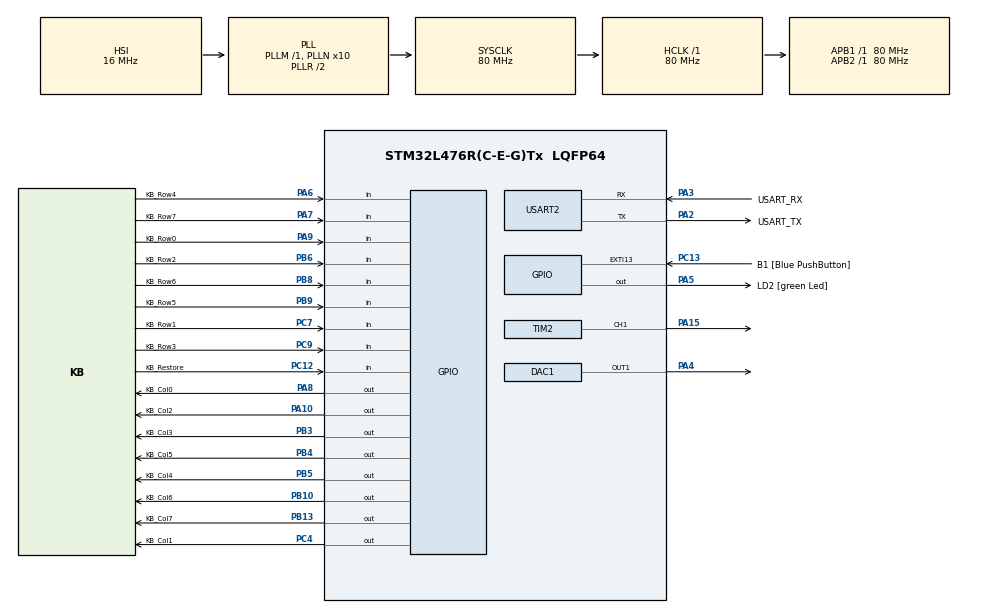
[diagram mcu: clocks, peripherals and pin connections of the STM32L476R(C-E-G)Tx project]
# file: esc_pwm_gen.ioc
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DAC1.DAC_OutputBuffer-DAC_OUT1=DAC_OUTPUTBUFFER_DISABLE
DAC1.DAC_SampleAndHold-DAC_OUT1=DAC_SAMPLEANDHOLD_DISABLE
DAC1.DAC_Trigger-DAC_OUT1=DAC_TRIGGER_T4_TRGO
DAC1.DAC_UserTrimming-DAC_OUT1=DAC_TRIMMING_FACTORY
Dma.DAC_CH1.0.Direction=DMA_MEMORY_TO_PERIPH
Dma.DAC_CH1.0.Instance=DMA1_Channel3
Dma.DAC_CH1.0.MemDataAlignment=DMA_MDATAALIGN_BYTE
Dma.DAC_CH1.0.MemInc=DMA_MINC_ENABLE
Dma.DAC_CH1.0.Mode=DMA_CIRCULAR
Dma.DAC_CH1.0.PeriphDataAlignment=DMA_PDATAALIGN_BYTE
Dma.DAC_CH1.0.PeriphInc=DMA_PINC_DISABLE
Dma.DAC_CH1.0.Priority=DMA_PRIORITY_LOW
Dma.Request0=DAC_CH1
Mcu.Family=STM32L4
Mcu.Name=STM32L476R(C-E-G)Tx
Mcu.Package=LQFP64
NVIC.DMA1_Channel3_IRQn=true\:0\:0\:false\:false\:true\:false\:true\:true
NVIC.PriorityGroup=NVIC_PRIORITYGROUP_4
NVIC.TIM1_BRK_TIM15_IRQn=true\:0\:0\:false\:false\:true\:true\:true\:true
NVIC.TIM6_DAC_IRQn=true\:0\:0\:false\:false\:true\:true\:true\:true
PA10.GPIO_Label=KB_Col2
PA10.Signal=GPIO_Output
PA13\ (JTMS-SWDIO).GPIO_Label=TMS
PA13\ (JTMS-SWDIO).Mode=Serial_Wire
PA13\ (JTMS-SWDIO).Signal=SYS_JTMS-SWDIO
PA14\ (JTCK-SWCLK).GPIO_Label=TCK
PA14\ (JTCK-SWCLK).Mode=Serial_Wire
PA14\ (JTCK-SWCLK).Signal=SYS_JTCK-SWCLK
PA15\ (JTDI).Signal=S_TIM2_CH1
PA2.GPIO_Label=USART_TX
PA2.GPIO_Mode=GPIO_MODE_AF_PP
PA2.GPIO_PuPd=GPIO_NOPULL
PA2.GPIO_Speed=GPIO_SPEED_FREQ_VERY_HIGH
PA2.Mode=Asynchronous
PA2.Signal=USART2_TX
PA3.GPIO_Label=USART_RX
PA3.GPIO_Mode=GPIO_MODE_AF_PP
PA3.GPIO_PuPd=GPIO_NOPULL
PA3.GPIO_Speed=GPIO_SPEED_FREQ_VERY_HIGH
PA3.Mode=Asynchronous
PA3.Signal=USART2_RX
PA4.Signal=COMP_DAC11_group
PA5.GPIO_Label=LD2 [green Led]
PA5.GPIO_ModeDefaultOutputPP=GPIO_MODE_OUTPUT_PP
PA5.GPIO_PuPd=GPIO_NOPULL
PA5.GPIO_Speed=GPIO_SPEED_FREQ_LOW
PA5.Signal=GPIO_Output
PA6.GPIO_Label=KB_Row4
PA6.GPIO_PuPd=GPIO_PULLUP
PA6.Signal=GPIO_Input
PA7.GPIO_Label=KB_Row7
PA7.GPIO_PuPd=GPIO_PULLUP
PA7.Signal=GPIO_Input
PA8.GPIO_Label=KB_Col0
PA8.Signal=GPIO_Output
PA9.GPIO_Label=KB_Row0
PA9.GPIO_PuPd=GPIO_PULLUP
PA9.Signal=GPIO_Input
PB10.GPIO_Label=KB_Col6
PB10.Signal=GPIO_Output
PB13.GPIO_Label=KB_Col7
PB13.Signal=GPIO_Output
PB3\ (JTDO-TRACESWO).GPIO_Label=KB_Col3
PB3\ (JTDO-TRACESWO).Signal=GPIO_Output
PB4\ (NJTRST).GPIO_Label=KB_Col5
PB4\ (NJTRST).Signal=GPIO_Output
PB5.GPIO_Label=KB_Col4
PB5.Signal=GPIO_Output
PB6.GPIO_Label=KB_Row2
PB6.GPIO_PuPd=GPIO_PULLUP
PB6.Signal=GPIO_Input
PB8.GPIO_Label=KB_Row6
PB8.GPIO_PuPd=GPIO_PULLUP
PB8.Signal=GPIO_Input
PB9.GPIO_Label=KB_Row5
PB9.GPIO_PuPd=GPIO_PULLUP
PB9.Signal=GPIO_Input
PC12.GPIO_Label=KB_Restore
PC12.GPIO_PuPd=GPIO_PULLUP
PC12.Signal=GPIO_Input
PC13.GPIO_Label=B1 [Blue PushButton]
PC13.GPIO_ModeDefaultEXTI=GPIO_MODE_IT_FALLING
PC13.GPIO_PuPd=GPIO_NOPULL
PC13.Signal=GPXTI13
PC14-OSC32_IN\ (PC14).Mode=LSE-External-Oscillator
PC14-OSC32_IN\ (PC14).Signal=RCC_OSC32_IN
PC15-OSC32_OUT\ (PC15).Mode=LSE-External-Oscillator
PC15-OSC32_OUT\ (PC15).Signal=RCC_OSC32_OUT
PC4.GPIO_Label=KB_Col1
PC4.Signal=GPIO_Output
PC7.GPIO_Label=KB_Row1
PC7.GPIO_PuPd=GPIO_PULLUP
PC7.Signal=GPIO_Input
PC9.GPIO_Label=KB_Row3
PC9.GPIO_PuPd=GPIO_PULLUP
PC9.Signal=GPIO_Input
PH0-OSC_IN\ (PH0).Signal=RCC_OSC_IN
PH1-OSC_OUT\ (PH1).Signal=RCC_OSC_OUT
ProjectManager.HeapSize=0x200
ProjectManager.StackSize=0x400
ProjectManager.TargetToolchain=STM32CubeIDE
RCC.ADCFreq_Value=168000000
RCC.AHBFreq_Value=80000000
RCC.APB1Freq_Value=80000000
RCC.APB1TimFreq_Value=80000000
RCC.APB2Freq_Value=80000000
RCC.APB2TimFreq_Value=80000000
RCC.CortexFreq_Value=80000000
RCC.HCLKFreq_Value=80000000
RCC.HSE_VALUE=8000000
RCC.HSI_VALUE=16000000
RCC.MSI_VALUE=4000000
RCC.PLLN=10
RCC.PLLSAI1N=21
RCC.PLLSourceVirtual=RCC_PLLSOURCE_HSI
RCC.PREFETCH_ENABLE=1
RCC.SYSCLKFreq_VALUE=80000000
RCC.SYSCLKSource=RCC_SYSCLKSOURCE_PLLCLK
RCC.USBFreq_Value=168000000
RCC.VCOOutputFreq_Value=160000000
SH.COMP_DAC11_group.0=DAC1_OUT1,DAC_OUT1
SH.S_TIM2_CH1.0=TIM2_CH1,PWM Generation1 CH1
TIM15.Channel-Output\ Compare1\ No\ Output=TIM_CHANNEL_1
TIM15.ClockDivision=TIM_CLOCKDIVISION_DIV1
TIM15.Period=50
TIM15.Prescaler=26666-1
TIM15.TIM_MasterOutputTrigger=TIM_TRGO_RESET
TIM2.AutoReloadPreload=TIM_AUTORELOAD_PRELOAD_ENABLE
TIM2.Channel-PWM\ Generation1\ CH1=TIM_CHANNEL_1
TIM2.OCMode_PWM-PWM\ Generation1\ CH1=TIM_OCMODE_PWM2
TIM2.OCPolarity_1=TIM_OCPOLARITY_LOW
TIM2.Period=1600000
TIM2.Pulse-PWM\ Generation1\ CH1=0
TIM4.AutoReloadPreload=TIM_AUTORELOAD_PRELOAD_ENABLE
TIM4.Period=21
TIM4.TIM_MasterOutputTrigger=TIM_TRGO_UPDATE
USART2.VirtualMode-Asynchronous=VM_ASYNC
VP_TIM15_VS_ClockSourceINT.Mode=Internal
VP_TIM15_VS_no_output1.Mode=Output Compare1 No Output
VP_TIM2_VS_ClockSourceINT.Mode=Internal
VP_TIM4_VS_ClockSourceINT.Mode=Internal
board=NUCLEO-L476RG

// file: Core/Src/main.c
/* USER CODE BEGIN Header */
/**
 ******************************************************************************
 * @file           : main.c
 * @brief          : Main program body
 ******************************************************************************
 * @attention
 *
 * Copyright (c) 2024 STMicroelectronics.
 * All rights reserved.
 *
 * This software is licensed under terms that can be found in the LICENSE file
 * in the root directory of this software component.
 * If no LICENSE file comes with this software, it is provided AS-IS.
 *
 ******************************************************************************
 */
/* USER CODE END Header */
#include "main.h"

/* USER CODE BEGIN Includes */
#include <string.h>
#include <stdint.h>
#include <math.h>

#include "pal.h"
#include "display.h"
#include "cpu.h"
/* USER CODE END Includes */

/* USER CODE BEGIN PD */
#define ESC_PWM 0
#define PAL 1

#define F_TO_I(f) (uint32_t)(80000 * (f + 1))
/* USER CODE END PD */

DAC_HandleTypeDef hdac1;
DMA_HandleTypeDef hdma_dac_ch1;

TIM_HandleTypeDef htim2;
TIM_HandleTypeDef htim4;
TIM_HandleTypeDef htim15;

UART_HandleTypeDef huart2;

/* USER CODE BEGIN PV */
PAL_t hpal1;
GPIO_TypeDef *cia_row_ports[16];
uint16_t cia_row_pins[16];
GPIO_TypeDef *cia_col_ports[16];
uint16_t cia_col_pins[16];
uint8_t c64_irq = 0;
/* USER CODE END PV */

void SystemClock_Config(void);
static void MX_GPIO_Init(void);
static void MX_DMA_Init(void);
static void MX_USART2_UART_Init(void);
static void MX_TIM2_Init(void);
static void MX_DAC1_Init(void);
static void MX_TIM4_Init(void);
static void MX_TIM15_Init(void);

int main(void)
{

	/* MCU Configuration--------------------------------------------------------*/

	/* Reset of all peripherals, Initializes the Flash interface and the Systick. */
	HAL_Init();

	/* Configure the system clock */
	SystemClock_Config();

	/* Initialize all configured peripherals */
	MX_GPIO_Init();
	MX_DMA_Init();
	MX_USART2_UART_Init();
	MX_TIM2_Init();
	MX_DAC1_Init();
	MX_TIM4_Init();
	MX_TIM15_Init();
	/* USER CODE BEGIN 2 */

#if ESC_PWM
	HAL_TIM_PWM_Start(&htim2, TIM_CHANNEL_1);
	/*
	 // calibration
	 TIM2->CCR1 = 160000;
	 while (HAL_GPIO_ReadPin(B1_GPIO_Port, B1_Pin) == 1)
	 ;
	 */
	while (1)
	{
		TIM2->CCR1 = 80000;
		HAL_Delay(2000);
		while (HAL_GPIO_ReadPin(B1_GPIO_Port, B1_Pin) == 1)
			;
		// 0.13 - 0.20
		float speed = 0.1f;
		/*
		 if (speed < 0.175f)
		 {
		 for (float f = 0.175f; f > speed + 0.01f; f -= 0.002f)
		 {
		 TIM2->CCR1 = F_TO_I(f);
		 HAL_Delay(100);
		 }
		 }
		 */
		TIM2->CCR1 = F_TO_I(speed);
		HAL_Delay(5000);
		/*
		 // sweep
		 float start = 0.15f;
		 float end = 0.20f;
		 for (float f = start; f <= end + 0.001; f += 0.01f)
		 {
		 TIM2->CCR1 = F_TO_I(f);
		 HAL_Delay(2500);
		 }
		 */
	}
#endif

#if PAL
	hpal1.hdac = &hdac1;
	hpal1.dac_channel = DAC_CHANNEL_1;
	hpal1.htim = &htim4;
	PAL_Init(&hpal1);
	for (uint32_t y = 0; y < PAL_FRAME_LINE_COUNT; y++)
	{
		for (uint32_t x = 0; x < PAL_FRAME_LINE_LEN; x++)
		{
			hpal1.frame_buffer[y * PAL_FRAME_LINE_LEN + x] = PAL_BLACK;
		}
	}
	PAL_Start(&hpal1);

	HAL_TIM_Base_Start_IT(&htim15);

	cia_row_ports[0] = KB_Row0_GPIO_Port;
	cia_row_pins[0] = KB_Row0_Pin;
	cia_row_ports[1] = KB_Row1_GPIO_Port;
	cia_row_pins[1] = KB_Row1_Pin;
	cia_row_ports[2] = KB_Row2_GPIO_Port;
	cia_row_pins[2] = KB_Row2_Pin;
	cia_row_ports[3] = KB_Row3_GPIO_Port;
	cia_row_pins[3] = KB_Row3_Pin;
	cia_row_ports[4] = KB_Row4_GPIO_Port;
	cia_row_pins[4] = KB_Row4_Pin;
	cia_row_ports[5] = KB_Row5_GPIO_Port;
	cia_row_pins[5] = KB_Row5_Pin;
	cia_row_ports[6] = KB_Row6_GPIO_Port;
	cia_row_pins[6] = KB_Row6_Pin;
	cia_row_ports[7] = KB_Row7_GPIO_Port;
	cia_row_pins[7] = KB_Row7_Pin;

	cia_col_ports[0] = KB_Col0_GPIO_Port;
	cia_col_pins[0] = KB_Col0_Pin;
	cia_col_ports[1] = KB_Col1_GPIO_Port;
	cia_col_pins[1] = KB_Col1_Pin;
	cia_col_ports[2] = KB_Col2_GPIO_Port;
	cia_col_pins[2] = KB_Col2_Pin;
	cia_col_ports[3] = KB_Col3_GPIO_Port;
	cia_col_pins[3] = KB_Col3_Pin;
	cia_col_ports[4] = KB_Col4_GPIO_Port;
	cia_col_pins[4] = KB_Col4_Pin;
	cia_col_ports[5] = KB_Col5_GPIO_Port;
	cia_col_pins[5] = KB_Col5_Pin;
	cia_col_ports[6] = KB_Col6_GPIO_Port;
	cia_col_pins[6] = KB_Col6_Pin;
	cia_col_ports[7] = KB_Col7_GPIO_Port;
	cia_col_pins[7] = KB_Col7_Pin;

	reset();
	ram[0xff0] = ram[0xff1] = ram[0xff2] = 0;
	while (1)
	{
		if (c64_irq)
		{
			irq();
			c64_irq = 0;
		}
		if (pc == 0xe544)
		{
			display_clear();
		}
		if (pc == 0xe5cd)
		{
			// siehe 0xEB35
			uint8_t kb_index = (uint8_t)mem_read(0xc6);
			if (kb_index < (uint8_t)mem_read(0x0289))
			{
				int c = 0; // getchar();
				if (c > 0)
				{
					if (c == '\n')
						c = '\r';
					mem_write(0x0277 + kb_index, c);
					mem_write(0xc6, kb_index + 1);
				}
			}
		}
		if (pc == 0xe716)
		{
			if (a == '\r')
				; // putchar('\n');
			else if (a == 0x1d)
				; // putchar(' ');
			else if ((uint8_t)a != 0x93)
				; // putchar(a);
		}
		if (HAL_GPIO_ReadPin(KB_Restore_GPIO_Port, KB_Restore_Pin) == GPIO_PIN_RESET)
		{
			nmi();
		}
		exec_ins();
	}
#endif
	/* USER CODE END 2 */

	/* Infinite loop */
	while (1)
	{

	}
}

void SystemClock_Config(void)
{
	RCC_OscInitTypeDef RCC_OscInitStruct = {
		0 };
	RCC_ClkInitTypeDef RCC_ClkInitStruct = {
		0 };

	/** Configure the main internal regulator output voltage
	 */
	if (HAL_PWREx_ControlVoltageScaling(PWR_REGULATOR_VOLTAGE_SCALE1) != HAL_OK)
	{
		Error_Handler();
	}

	/** Initializes the RCC Oscillators according to the specified parameters
	 * in the RCC_OscInitTypeDef structure.
	 */
	RCC_OscInitStruct.OscillatorType = RCC_OSCILLATORTYPE_HSI;
	RCC_OscInitStruct.HSIState = RCC_HSI_ON;
	RCC_OscInitStruct.HSICalibrationValue = RCC_HSICALIBRATION_DEFAULT;
	RCC_OscInitStruct.PLL.PLLState = RCC_PLL_ON;
	RCC_OscInitStruct.PLL.PLLSource = RCC_PLLSOURCE_HSI;
	RCC_OscInitStruct.PLL.PLLM = 1;
	RCC_OscInitStruct.PLL.PLLN = 10;
	RCC_OscInitStruct.PLL.PLLP = RCC_PLLP_DIV7;
	RCC_OscInitStruct.PLL.PLLQ = RCC_PLLQ_DIV2;
	RCC_OscInitStruct.PLL.PLLR = RCC_PLLR_DIV2;
	if (HAL_RCC_OscConfig(&RCC_OscInitStruct) != HAL_OK)
	{
		Error_Handler();
	}

	/** Initializes the CPU, AHB and APB buses clocks
	 */
	RCC_ClkInitStruct.ClockType = RCC_CLOCKTYPE_HCLK | RCC_CLOCKTYPE_SYSCLK
		| RCC_CLOCKTYPE_PCLK1 | RCC_CLOCKTYPE_PCLK2;
	RCC_ClkInitStruct.SYSCLKSource = RCC_SYSCLKSOURCE_PLLCLK;
	RCC_ClkInitStruct.AHBCLKDivider = RCC_SYSCLK_DIV1;
	RCC_ClkInitStruct.APB1CLKDivider = RCC_HCLK_DIV1;
	RCC_ClkInitStruct.APB2CLKDivider = RCC_HCLK_DIV1;

	if (HAL_RCC_ClockConfig(&RCC_ClkInitStruct, FLASH_LATENCY_4) != HAL_OK)
	{
		Error_Handler();
	}
}

static void MX_DAC1_Init(void)
{

	DAC_ChannelConfTypeDef sConfig = {
		0 };

	/** DAC Initialization
	 */
	hdac1.Instance = DAC1;
	if (HAL_DAC_Init(&hdac1) != HAL_OK)
	{
		Error_Handler();
	}

	/** DAC channel OUT1 config
	 */
	sConfig.DAC_SampleAndHold = DAC_SAMPLEANDHOLD_DISABLE;
	sConfig.DAC_Trigger = DAC_TRIGGER_T4_TRGO;
	sConfig.DAC_OutputBuffer = DAC_OUTPUTBUFFER_DISABLE;
	sConfig.DAC_ConnectOnChipPeripheral = DAC_CHIPCONNECT_DISABLE;
	sConfig.DAC_UserTrimming = DAC_TRIMMING_FACTORY;
	if (HAL_DAC_ConfigChannel(&hdac1, &sConfig, DAC_CHANNEL_1) != HAL_OK)
	{
		Error_Handler();
	}

}

static void MX_TIM2_Init(void)
{

	TIM_ClockConfigTypeDef sClockSourceConfig = {
		0 };
	TIM_MasterConfigTypeDef sMasterConfig = {
		0 };
	TIM_OC_InitTypeDef sConfigOC = {
		0 };

	htim2.Instance = TIM2;
	htim2.Init.Prescaler = 0;
	htim2.Init.CounterMode = TIM_COUNTERMODE_UP;
	htim2.Init.Period = 1600000;
	htim2.Init.ClockDivision = TIM_CLOCKDIVISION_DIV1;
	htim2.Init.AutoReloadPreload = TIM_AUTORELOAD_PRELOAD_ENABLE;
	if (HAL_TIM_Base_Init(&htim2) != HAL_OK)
	{
		Error_Handler();
	}
	sClockSourceConfig.ClockSource = TIM_CLOCKSOURCE_INTERNAL;
	if (HAL_TIM_ConfigClockSource(&htim2, &sClockSourceConfig) != HAL_OK)
	{
		Error_Handler();
	}
	if (HAL_TIM_PWM_Init(&htim2) != HAL_OK)
	{
		Error_Handler();
	}
	sMasterConfig.MasterOutputTrigger = TIM_TRGO_RESET;
	sMasterConfig.MasterSlaveMode = TIM_MASTERSLAVEMODE_DISABLE;
	if (HAL_TIMEx_MasterConfigSynchronization(&htim2, &sMasterConfig) != HAL_OK)
	{
		Error_Handler();
	}
	sConfigOC.OCMode = TIM_OCMODE_PWM2;
	sConfigOC.Pulse = 0;
	sConfigOC.OCPolarity = TIM_OCPOLARITY_LOW;
	sConfigOC.OCFastMode = TIM_OCFAST_DISABLE;
	if (HAL_TIM_PWM_ConfigChannel(&htim2, &sConfigOC, TIM_CHANNEL_1) != HAL_OK)
	{
		Error_Handler();
	}
	HAL_TIM_MspPostInit(&htim2);

}

static void MX_TIM4_Init(void)
{

	TIM_ClockConfigTypeDef sClockSourceConfig = {
		0 };
	TIM_MasterConfigTypeDef sMasterConfig = {
		0 };

	htim4.Instance = TIM4;
	htim4.Init.Prescaler = 0;
	htim4.Init.CounterMode = TIM_COUNTERMODE_UP;
	htim4.Init.Period = 21;
	htim4.Init.ClockDivision = TIM_CLOCKDIVISION_DIV1;
	htim4.Init.AutoReloadPreload = TIM_AUTORELOAD_PRELOAD_ENABLE;
	if (HAL_TIM_Base_Init(&htim4) != HAL_OK)
	{
		Error_Handler();
	}
	sClockSourceConfig.ClockSource = TIM_CLOCKSOURCE_INTERNAL;
	if (HAL_TIM_ConfigClockSource(&htim4, &sClockSourceConfig) != HAL_OK)
	{
		Error_Handler();
	}
	sMasterConfig.MasterOutputTrigger = TIM_TRGO_UPDATE;
	sMasterConfig.MasterSlaveMode = TIM_MASTERSLAVEMODE_DISABLE;
	if (HAL_TIMEx_MasterConfigSynchronization(&htim4, &sMasterConfig) != HAL_OK)
	{
		Error_Handler();
	}

}

static void MX_TIM15_Init(void)
{

	TIM_ClockConfigTypeDef sClockSourceConfig = {
		0 };
	TIM_MasterConfigTypeDef sMasterConfig = {
		0 };
	TIM_OC_InitTypeDef sConfigOC = {
		0 };
	TIM_BreakDeadTimeConfigTypeDef sBreakDeadTimeConfig = {
		0 };

	htim15.Instance = TIM15;
	htim15.Init.Prescaler = 26666 - 1;
	htim15.Init.CounterMode = TIM_COUNTERMODE_UP;
	htim15.Init.Period = 50;
	htim15.Init.ClockDivision = TIM_CLOCKDIVISION_DIV1;
	htim15.Init.RepetitionCounter = 0;
	htim15.Init.AutoReloadPreload = TIM_AUTORELOAD_PRELOAD_DISABLE;
	if (HAL_TIM_Base_Init(&htim15) != HAL_OK)
	{
		Error_Handler();
	}
	sClockSourceConfig.ClockSource = TIM_CLOCKSOURCE_INTERNAL;
	if (HAL_TIM_ConfigClockSource(&htim15, &sClockSourceConfig) != HAL_OK)
	{
		Error_Handler();
	}
	if (HAL_TIM_OC_Init(&htim15) != HAL_OK)
	{
		Error_Handler();
	}
	sMasterConfig.MasterOutputTrigger = TIM_TRGO_RESET;
	sMasterConfig.MasterSlaveMode = TIM_MASTERSLAVEMODE_DISABLE;
	if (HAL_TIMEx_MasterConfigSynchronization(&htim15, &sMasterConfig) != HAL_OK)
	{
		Error_Handler();
	}
	sConfigOC.OCMode = TIM_OCMODE_TIMING;
	sConfigOC.Pulse = 0;
	sConfigOC.OCPolarity = TIM_OCPOLARITY_HIGH;
	sConfigOC.OCNPolarity = TIM_OCNPOLARITY_HIGH;
	sConfigOC.OCFastMode = TIM_OCFAST_DISABLE;
	sConfigOC.OCIdleState = TIM_OCIDLESTATE_RESET;
	sConfigOC.OCNIdleState = TIM_OCNIDLESTATE_RESET;
	if (HAL_TIM_OC_ConfigChannel(&htim15, &sConfigOC, TIM_CHANNEL_1) != HAL_OK)
	{
		Error_Handler();
	}
	sBreakDeadTimeConfig.OffStateRunMode = TIM_OSSR_DISABLE;
	sBreakDeadTimeConfig.OffStateIDLEMode = TIM_OSSI_DISABLE;
	sBreakDeadTimeConfig.LockLevel = TIM_LOCKLEVEL_OFF;
	sBreakDeadTimeConfig.DeadTime = 0;
	sBreakDeadTimeConfig.BreakState = TIM_BREAK_DISABLE;
	sBreakDeadTimeConfig.BreakPolarity = TIM_BREAKPOLARITY_HIGH;
	sBreakDeadTimeConfig.AutomaticOutput = TIM_AUTOMATICOUTPUT_DISABLE;
	if (HAL_TIMEx_ConfigBreakDeadTime(&htim15, &sBreakDeadTimeConfig) != HAL_OK)
	{
		Error_Handler();
	}

}

static void MX_USART2_UART_Init(void)
{

	huart2.Instance = USART2;
	huart2.Init.BaudRate = 115200;
	huart2.Init.WordLength = UART_WORDLENGTH_8B;
	huart2.Init.StopBits = UART_STOPBITS_1;
	huart2.Init.Parity = UART_PARITY_NONE;
	huart2.Init.Mode = UART_MODE_TX_RX;
	huart2.Init.HwFlowCtl = UART_HWCONTROL_NONE;
	huart2.Init.OverSampling = UART_OVERSAMPLING_16;
	huart2.Init.OneBitSampling = UART_ONE_BIT_SAMPLE_DISABLE;
	huart2.AdvancedInit.AdvFeatureInit = UART_ADVFEATURE_NO_INIT;
	if (HAL_UART_Init(&huart2) != HAL_OK)
	{
		Error_Handler();
	}

}

static void MX_DMA_Init(void)
{

	/* DMA controller clock enable */
	__HAL_RCC_DMA1_CLK_ENABLE();

	/* DMA interrupt init */
	/* DMA1_Channel3_IRQn interrupt configuration */
	HAL_NVIC_SetPriority(DMA1_Channel3_IRQn, 0, 0);
	HAL_NVIC_EnableIRQ(DMA1_Channel3_IRQn);

}

static void MX_GPIO_Init(void)
{
	GPIO_InitTypeDef GPIO_InitStruct = {
		0 };

	/* GPIO Ports Clock Enable */
	__HAL_RCC_GPIOC_CLK_ENABLE();
	__HAL_RCC_GPIOH_CLK_ENABLE();
	__HAL_RCC_GPIOA_CLK_ENABLE();
	__HAL_RCC_GPIOB_CLK_ENABLE();

	/*Configure GPIO pin Output Level */
	HAL_GPIO_WritePin(GPIOA, LD2_Pin | KB_Col0_Pin | KB_Col2_Pin, GPIO_PIN_RESET);

	/*Configure GPIO pin Output Level */
	HAL_GPIO_WritePin(KB_Col1_GPIO_Port, KB_Col1_Pin, GPIO_PIN_RESET);

	/*Configure GPIO pin Output Level */
	HAL_GPIO_WritePin(GPIOB, KB_Col6_Pin | KB_Col7_Pin | KB_Col3_Pin | KB_Col5_Pin
		| KB_Col4_Pin, GPIO_PIN_RESET);

	/*Configure GPIO pin : B1_Pin */
	GPIO_InitStruct.Pin = B1_Pin;
	GPIO_InitStruct.Mode = GPIO_MODE_IT_FALLING;
	GPIO_InitStruct.Pull = GPIO_NOPULL;
	HAL_GPIO_Init(B1_GPIO_Port, &GPIO_InitStruct);

	/*Configure GPIO pins : LD2_Pin KB_Col0_Pin KB_Col2_Pin */
	GPIO_InitStruct.Pin = LD2_Pin | KB_Col0_Pin | KB_Col2_Pin;
	GPIO_InitStruct.Mode = GPIO_MODE_OUTPUT_PP;
	GPIO_InitStruct.Pull = GPIO_NOPULL;
	GPIO_InitStruct.Speed = GPIO_SPEED_FREQ_LOW;
	HAL_GPIO_Init(GPIOA, &GPIO_InitStruct);

	/*Configure GPIO pins : KB_Row4_Pin KB_Row7_Pin KB_Row0_Pin */
	GPIO_InitStruct.Pin = KB_Row4_Pin | KB_Row7_Pin | KB_Row0_Pin;
	GPIO_InitStruct.Mode = GPIO_MODE_INPUT;
	GPIO_InitStruct.Pull = GPIO_PULLUP;
	HAL_GPIO_Init(GPIOA, &GPIO_InitStruct);

	/*Configure GPIO pin : KB_Col1_Pin */
	GPIO_InitStruct.Pin = KB_Col1_Pin;
	GPIO_InitStruct.Mode = GPIO_MODE_OUTPUT_PP;
	GPIO_InitStruct.Pull = GPIO_NOPULL;
	GPIO_InitStruct.Speed = GPIO_SPEED_FREQ_LOW;
	HAL_GPIO_Init(KB_Col1_GPIO_Port, &GPIO_InitStruct);

	/*Configure GPIO pins : KB_Col6_Pin KB_Col7_Pin KB_Col3_Pin KB_Col5_Pin
	 KB_Col4_Pin */
	GPIO_InitStruct.Pin = KB_Col6_Pin | KB_Col7_Pin | KB_Col3_Pin | KB_Col5_Pin
		| KB_Col4_Pin;
	GPIO_InitStruct.Mode = GPIO_MODE_OUTPUT_PP;
	GPIO_InitStruct.Pull = GPIO_NOPULL;
	GPIO_InitStruct.Speed = GPIO_SPEED_FREQ_LOW;
	HAL_GPIO_Init(GPIOB, &GPIO_InitStruct);

	/*Configure GPIO pins : KB_Row1_Pin KB_Row3_Pin KB_Restore_Pin */
	GPIO_InitStruct.Pin = KB_Row1_Pin | KB_Row3_Pin | KB_Restore_Pin;
	GPIO_InitStruct.Mode = GPIO_MODE_INPUT;
	GPIO_InitStruct.Pull = GPIO_PULLUP;
	HAL_GPIO_Init(GPIOC, &GPIO_InitStruct);

	/*Configure GPIO pins : KB_Row2_Pin KB_Row6_Pin KB_Row5_Pin */
	GPIO_InitStruct.Pin = KB_Row2_Pin | KB_Row6_Pin | KB_Row5_Pin;
	GPIO_InitStruct.Mode = GPIO_MODE_INPUT;
	GPIO_InitStruct.Pull = GPIO_PULLUP;
	HAL_GPIO_Init(GPIOB, &GPIO_InitStruct);

}

/* USER CODE BEGIN 4 */
int __io_putchar(int ch)
{
	// HAL_UART_Transmit(&huart2, &ch, sizeof(uint8_t), 10);

	return ch;
}

void HAL_DAC_ConvHalfCpltCallbackCh1(DAC_HandleTypeDef *hdac)
{
	HAL_GPIO_TogglePin(LD2_GPIO_Port, LD2_Pin);
	PAL_IntHalfCplt(&hpal1);
	HAL_GPIO_TogglePin(LD2_GPIO_Port, LD2_Pin);
}

void HAL_DAC_ConvCpltCallbackCh1(DAC_HandleTypeDef *hdac)
{
	HAL_GPIO_TogglePin(LD2_GPIO_Port, LD2_Pin);
	PAL_IntCplt(&hpal1);
	HAL_GPIO_TogglePin(LD2_GPIO_Port, LD2_Pin);
}

void HAL_TIM_PeriodElapsedCallback(TIM_HandleTypeDef *htim)
{
	if (htim->Instance == TIM15)
	{
		c64_irq = 1;
	}
}

uint8_t gpio_read_row(uint8_t pin)
{
	return HAL_GPIO_ReadPin(cia_row_ports[pin], cia_row_pins[pin]) == GPIO_PIN_SET ? 1 : 0;
}

void gpio_write_col(uint8_t pin, uint8_t state)
{
	HAL_GPIO_WritePin(cia_col_ports[pin], cia_col_pins[pin], state ? GPIO_PIN_SET : GPIO_PIN_RESET);
}

void display_set_pixel(uint16_t x, uint16_t y, bool state)
{
	// centering
	x += 27;
	y += 45;
	// neccessary sacrifices
	x /= 2;
	y += 4;
	if (x < PAL_FRAME_LINE_LEN && y < PAL_FRAME_LINE_COUNT)
	{
		if (state)
		{
			hpal1.frame_buffer[y * PAL_FRAME_LINE_LEN + x] = PAL_WHITE;
		}
		else
		{
			hpal1.frame_buffer[y * PAL_FRAME_LINE_LEN + x] = PAL_BLACK;
		}
	}
}
/* USER CODE END 4 */

void Error_Handler(void)
{
	__disable_irq();
	while (1)
	{
	}
}
